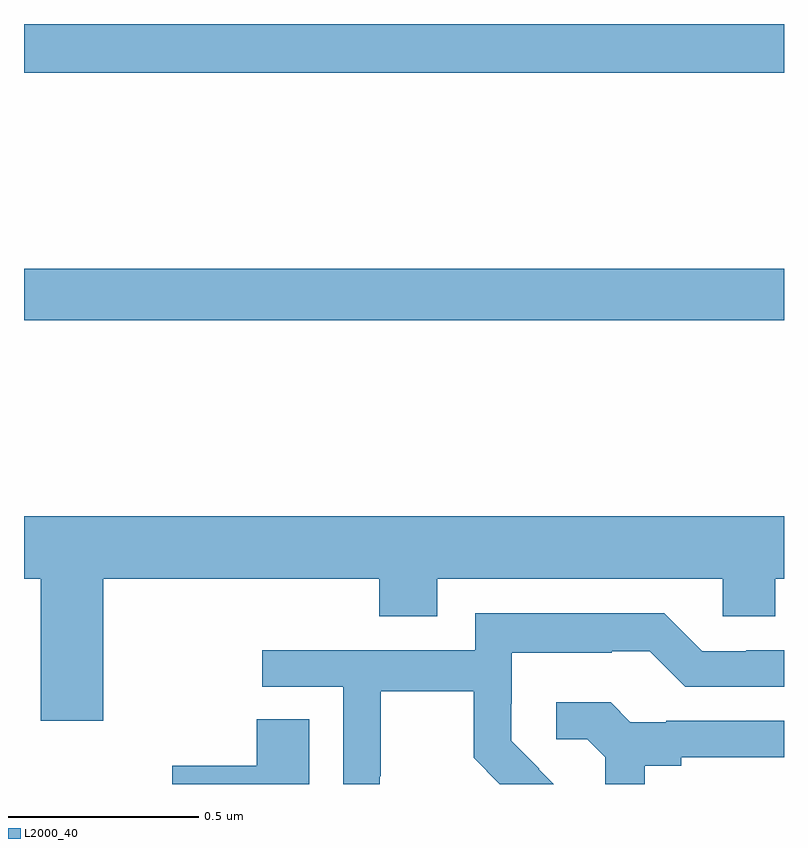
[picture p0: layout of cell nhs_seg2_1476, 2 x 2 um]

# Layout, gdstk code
import gdstk
lib = gdstk.Library(unit=1e-6, precision=1e-09)
def R(c, l, rs):  # rectangles x0, y0, x1, y1
    for r in rs: c.add(gdstk.rectangle(r[:2], r[2:], *l))
def P(c, l, *ps):  # polygons
    for p in ps: c.add(gdstk.Polygon(p, *l))
L2000_40 = (2000, 40)

nhs_seg2_1476 = lib.new_cell('nhs_seg2_1476')
R(nhs_seg2_1476, L2000_40, [(129,611.02,131,611.156), (129,611.672,131,611.8)])
P(nhs_seg2_1476, L2000_40, [(129.208,610.34),(129.935,610.34),(129.935,610.241),(130.087,610.241),(130.087,610.34),(130.839,610.34),(130.839,610.242),(130.977,610.242),(130.977,610.34),(131,610.34),(131,610.504),(129,610.504),(129,610.34),(129.044,610.34),(129.044,609.966),(129.208,609.966)],
  [(129.936,609.82),(129.939,609.82),(129.939,610.044),(130.183,610.044),(130.183,609.869),(130.252,609.8),(130.394,609.8),(130.355,609.839),(130.356,609.84),(130.282,609.914),(130.282,610.011),(130.284,610.011),(130.284,610.145),(130.547,610.145),(130.547,610.149),(130.647,610.149),(130.74,610.056),(131,610.056),(131,610.152),(130.901,610.152),(130.901,610.149),(130.785,610.149),(130.685,610.249),(130.188,610.249),(130.188,610.152),(129.627,610.152),(129.627,610.056),(129.84,610.056),(129.84,609.8),(129.936,609.8)],
  [(130.633,609.848),(130.729,609.848),(130.729,609.87),(131,609.87),(131,609.966),(130.69,609.966),(130.69,609.963),(130.596,609.963),(130.544,610.015),(130.401,610.015),(130.401,609.918),(130.482,609.918),(130.529,609.871),(130.529,609.8),(130.633,609.8)],
  [(129.751,609.971),(129.613,609.971),(129.613,609.848),(129.39,609.848),(129.39,609.8),(129.751,609.8)])

lib.write_gds('nhs_seg2_1476.gds')
